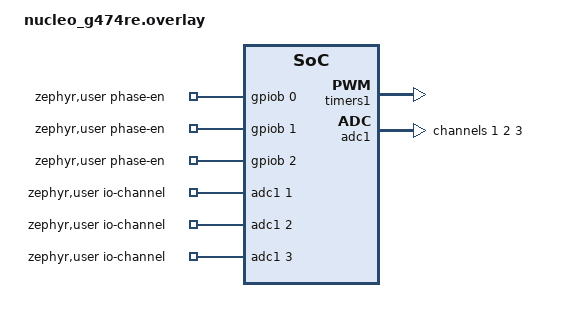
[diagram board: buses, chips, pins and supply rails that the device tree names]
/*
 * Sensorless BLDC six-step commutation - board overlay (NUCLEO-G474RE)
 *
 * HARDWARE ASSUMPTION - please verify against your actual driver board:
 * each phase is backed by an integrated three-phase half-bridge driver
 * (DRV8313 / L6234 class) that:
 *   - takes one PWM input per phase to set high-side duty (low side is
 *     handled internally, with dead time),
 *   - has a per-phase enable/tri-state pin so the undriven phase can
 *     float for back-EMF sensing.
 * If you're instead using discrete MOSFETs with separate high/low gate
 * drivers (e.g. 3x IR2104, as in the brushed-motor project), the pin
 * list below still works as a starting point, but PhaseDriver in
 * src/phase_driver.cpp will need to drive two gate signals per phase
 * instead of one.
 *
 * Phase PWM  -> TIM1 CH1/CH2/CH3 (PA8 / PA9 / PA10)
 * Phase EN   -> PB0 / PB1 / PB2   (placeholder - move to match wiring)
 * Phase BEMF -> ADC1 IN1/IN2/IN3  (placeholder - via resistor dividers
 *               scaled into the ADC's reference range)
 */

#include <zephyr/dt-bindings/gpio/gpio.h>
#include <zephyr/dt-bindings/adc/adc.h>

&timers1 {
	status = "okay";

	pwm_u: pwm_ch1 {
		status = "okay";
		pinctrl-0 = <&tim1_ch1_pa8>;
		pinctrl-names = "default";
	};
	pwm_v: pwm_ch2 {
		status = "okay";
		pinctrl-0 = <&tim1_ch2_pa9>;
		pinctrl-names = "default";
	};
	pwm_w: pwm_ch3 {
		status = "okay";
		pinctrl-0 = <&tim1_ch3_pa10>;
		pinctrl-names = "default";
	};
};

&gpiob {
	status = "okay";
};

&adc1 {
	status = "okay";
	#address-cells = <1>;
	#size-cells = <0>;

	channel@1 {
		reg = <1>;
		zephyr,gain = "ADC_GAIN_1";
		zephyr,reference = "ADC_REF_INTERNAL";
		zephyr,acquisition-time = <ADC_ACQ_TIME_DEFAULT>;
		zephyr,resolution = <12>;
	};
	channel@2 {
		reg = <2>;
		zephyr,gain = "ADC_GAIN_1";
		zephyr,reference = "ADC_REF_INTERNAL";
		zephyr,acquisition-time = <ADC_ACQ_TIME_DEFAULT>;
		zephyr,resolution = <12>;
	};
	channel@3 {
		reg = <3>;
		zephyr,gain = "ADC_GAIN_1";
		zephyr,reference = "ADC_REF_INTERNAL";
		zephyr,acquisition-time = <ADC_ACQ_TIME_DEFAULT>;
		zephyr,resolution = <12>;
	};
};

/ {
	aliases {
		bldc-pwm-u = &pwm_u;
		bldc-pwm-v = &pwm_v;
		bldc-pwm-w = &pwm_w;
	};

	zephyr,user {
		io-channels = <&adc1 1>, <&adc1 2>, <&adc1 3>;
		phase-en-gpios = <&gpiob 0 GPIO_ACTIVE_HIGH>,
				  <&gpiob 1 GPIO_ACTIVE_HIGH>,
				  <&gpiob 2 GPIO_ACTIVE_HIGH>;
	};
};
